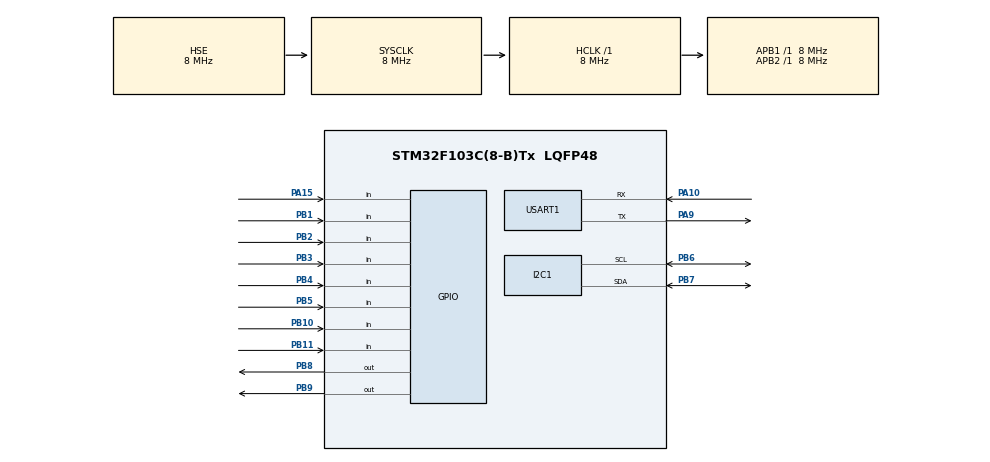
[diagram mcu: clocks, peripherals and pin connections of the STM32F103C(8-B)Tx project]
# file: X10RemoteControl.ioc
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Mcu.Family=STM32F1
Mcu.Name=STM32F103C(8-B)Tx
Mcu.Package=LQFP48
NVIC.PriorityGroup=NVIC_PRIORITYGROUP_4
PA10.Mode=Asynchronous
PA10.Signal=USART1_RX
PA13.Mode=Serial_Wire
PA13.Signal=SYS_JTMS-SWDIO
PA14.Mode=Serial_Wire
PA14.Signal=SYS_JTCK-SWCLK
PA15.Signal=GPIO_Input
PA9.Mode=Asynchronous
PA9.Signal=USART1_TX
PB1.Signal=GPIO_Input
PB10.Signal=GPIO_Input
PB11.Signal=GPIO_Input
PB2.Signal=GPIO_Input
PB3.Signal=GPIO_Input
PB4.Signal=GPIO_Input
PB5.Signal=GPIO_Input
PB6.Mode=I2C
PB6.Signal=I2C1_SCL
PB7.Mode=I2C
PB7.Signal=I2C1_SDA
PB8.Signal=GPIO_Output
PB9.Signal=GPIO_Output
PC14-OSC32_IN.Mode=LSE-External-Oscillator
PC14-OSC32_IN.Signal=RCC_OSC32_IN
PC15-OSC32_OUT.Mode=LSE-External-Oscillator
PC15-OSC32_OUT.Signal=RCC_OSC32_OUT
PD0-OSC_IN.Mode=HSE-External-Oscillator
PD0-OSC_IN.Signal=RCC_OSC_IN
PD1-OSC_OUT.Mode=HSE-External-Oscillator
PD1-OSC_OUT.Signal=RCC_OSC_OUT
ProjectManager.HeapSize=0x200
ProjectManager.StackSize=0x400
ProjectManager.TargetToolchain=MDK-ARM V5
RCC.AHBFreq_Value=8000000
RCC.APB1Freq_Value=8000000
RCC.APB1TimFreq_Value=8000000
RCC.APB2Freq_Value=8000000
RCC.APB2TimFreq_Value=8000000
RCC.HCLKFreq_Value=8000000
RCC.PLLSourceVirtual=RCC_PLLSOURCE_HSE
RCC.SYSCLKFreq_VALUE=8000000
RCC.SYSCLKSource=RCC_SYSCLKSOURCE_HSE
RCC.USBFreq_Value=16000000
USART1.VirtualMode=VM_ASYNC
board=custom

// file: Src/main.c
/* USER CODE BEGIN Header */
/**
  ******************************************************************************
  * @file           : main.c
  * @brief          : Main program body
  ******************************************************************************
  ** This notice applies to any and all portions of this file
  * that are not between comment pairs USER CODE BEGIN and
  * USER CODE END. Other portions of this file, whether
  * inserted by the user or by software development tools
  * are owned by their respective copyright owners.
  *
  * COPYRIGHT(c) 2019 STMicroelectronics
  *
  * Redistribution and use in source and binary forms, with or without modification,
  * are permitted provided that the following conditions are met:
  *   1. Redistributions of source code must retain the above copyright notice,
  *      this list of conditions and the following disclaimer.
  *   2. Redistributions in binary form must reproduce the above copyright notice,
  *      this list of conditions and the following disclaimer in the documentation
  *      and/or other materials provided with the distribution.
  *   3. Neither the name of STMicroelectronics nor the names of its contributors
  *      may be used to endorse or promote products derived from this software
  *      without specific prior written permission.
  *
  * THIS SOFTWARE IS PROVIDED BY THE COPYRIGHT HOLDERS AND CONTRIBUTORS "AS IS"
  * AND ANY EXPRESS OR IMPLIED WARRANTIES, INCLUDING, BUT NOT LIMITED TO, THE
  * IMPLIED WARRANTIES OF MERCHANTABILITY AND FITNESS FOR A PARTICULAR PURPOSE ARE
  * DISCLAIMED. IN NO EVENT SHALL THE COPYRIGHT HOLDER OR CONTRIBUTORS BE LIABLE
  * FOR ANY DIRECT, INDIRECT, INCIDENTAL, SPECIAL, EXEMPLARY, OR CONSEQUENTIAL
  * DAMAGES (INCLUDING, BUT NOT LIMITED TO, PROCUREMENT OF SUBSTITUTE GOODS OR
  * SERVICES; LOSS OF USE, DATA, OR PROFITS; OR BUSINESS INTERRUPTION) HOWEVER
  * CAUSED AND ON ANY THEORY OF LIABILITY, WHETHER IN CONTRACT, STRICT LIABILITY,
  * OR TORT (INCLUDING NEGLIGENCE OR OTHERWISE) ARISING IN ANY WAY OUT OF THE USE
  * OF THIS SOFTWARE, EVEN IF ADVISED OF THE POSSIBILITY OF SUCH DAMAGE.
  *
  ******************************************************************************
  */
/* USER CODE END Header */

#include "main.h"

/* USER CODE BEGIN PD */
#define OSC_HSE	8000000
#define OSC_LSE	32768
/* USER CODE END PD */

/* USER CODE BEGIN PM */
#ifdef __GNUC__
#define PUTCHAR_PROTOTYPE int __io_putchar(int ch)
#else
#define PUTCHAR_PROTOTYPE int fputc(int ch, FILE *f)
#endif
#define CLEAR() printf("\033[2J")								//清屏
#define MOVEUP(x) printf("\033[%dA", (x))
#define MOVEDOWN(x) printf("\033[%dB", (x))
#define MOVELEFT(y) printf("\033[%dD", (y))
#define MOVERIGHT(y) printf("\033[%dC",(y))
#define RESET_CURSOR() printf("\033[H")								//设置：重置光标至原点
#define MOVETO(x,y) printf("\033[%d;%dH", (x), (y))	//设置：移动光标至x行y列
#define CLEARLINE() printf("\033[K")								//设置：清楚从光标到行尾的字符
#define SAVEPOS() printf("\033[s")								//设置：保存光标位置
#define LODEPOS() printf("\033[u")								//设置：恢复光标位置
#define RESET() printf("\033[0m")								//设置：清楚所有设置
/* USER CODE END PM */

I2C_HandleTypeDef hi2c1;

UART_HandleTypeDef huart1;

void SystemClock_Config(void);
static void MX_GPIO_Init(void);
static void MX_I2C1_Init(void);
static void MX_USART1_UART_Init(void);

int main(void)
{

  /* MCU Configuration--------------------------------------------------------*/

  /* Reset of all peripherals, Initializes the Flash interface and the Systick. */
  HAL_Init();

  /* Configure the system clock */
  SystemClock_Config();

  /* Initialize all configured peripherals */
  MX_GPIO_Init();
  MX_I2C1_Init();
  MX_USART1_UART_Init();

  /* Infinite loop */
  while (1)
  {

  }
}

void SystemClock_Config(void)
{
  RCC_OscInitTypeDef RCC_OscInitStruct = {0};
  RCC_ClkInitTypeDef RCC_ClkInitStruct = {0};

  /**Initializes the CPU, AHB and APB busses clocks
  */
  RCC_OscInitStruct.OscillatorType = RCC_OSCILLATORTYPE_HSE;
  RCC_OscInitStruct.HSEState = RCC_HSE_ON;
  RCC_OscInitStruct.PLL.PLLState = RCC_PLL_NONE;
  if (HAL_RCC_OscConfig(&RCC_OscInitStruct) != HAL_OK)
  {
    Error_Handler();
  }
  /**Initializes the CPU, AHB and APB busses clocks
  */
  RCC_ClkInitStruct.ClockType = RCC_CLOCKTYPE_HCLK|RCC_CLOCKTYPE_SYSCLK
                              |RCC_CLOCKTYPE_PCLK1|RCC_CLOCKTYPE_PCLK2;
  RCC_ClkInitStruct.SYSCLKSource = RCC_SYSCLKSOURCE_HSE;
  RCC_ClkInitStruct.AHBCLKDivider = RCC_SYSCLK_DIV1;
  RCC_ClkInitStruct.APB1CLKDivider = RCC_HCLK_DIV1;
  RCC_ClkInitStruct.APB2CLKDivider = RCC_HCLK_DIV1;

  if (HAL_RCC_ClockConfig(&RCC_ClkInitStruct, FLASH_LATENCY_0) != HAL_OK)
  {
    Error_Handler();
  }
}

static void MX_I2C1_Init(void)
{

  hi2c1.Instance = I2C1;
  hi2c1.Init.ClockSpeed = 100000;
  hi2c1.Init.DutyCycle = I2C_DUTYCYCLE_2;
  hi2c1.Init.OwnAddress1 = 0;
  hi2c1.Init.AddressingMode = I2C_ADDRESSINGMODE_7BIT;
  hi2c1.Init.DualAddressMode = I2C_DUALADDRESS_DISABLE;
  hi2c1.Init.OwnAddress2 = 0;
  hi2c1.Init.GeneralCallMode = I2C_GENERALCALL_DISABLE;
  hi2c1.Init.NoStretchMode = I2C_NOSTRETCH_DISABLE;
  if (HAL_I2C_Init(&hi2c1) != HAL_OK)
  {
    Error_Handler();
  }

}

static void MX_USART1_UART_Init(void)
{

  huart1.Instance = USART1;
  huart1.Init.BaudRate = 115200;
  huart1.Init.WordLength = UART_WORDLENGTH_8B;
  huart1.Init.StopBits = UART_STOPBITS_1;
  huart1.Init.Parity = UART_PARITY_NONE;
  huart1.Init.Mode = UART_MODE_TX_RX;
  huart1.Init.HwFlowCtl = UART_HWCONTROL_NONE;
  huart1.Init.OverSampling = UART_OVERSAMPLING_16;
  if (HAL_UART_Init(&huart1) != HAL_OK)
  {
    Error_Handler();
  }

}

static void MX_GPIO_Init(void)
{
  GPIO_InitTypeDef GPIO_InitStruct = {0};

  /* GPIO Ports Clock Enable */
  __HAL_RCC_GPIOC_CLK_ENABLE();
  __HAL_RCC_GPIOD_CLK_ENABLE();
  __HAL_RCC_GPIOB_CLK_ENABLE();
  __HAL_RCC_GPIOA_CLK_ENABLE();

  /*Configure GPIO pin Output Level */
  HAL_GPIO_WritePin(GPIOB, GPIO_PIN_8|GPIO_PIN_9, GPIO_PIN_RESET);

  /*Configure GPIO pins : PB1 PB2 PB10 PB11
                           PB3 PB4 PB5 */
  GPIO_InitStruct.Pin = GPIO_PIN_1|GPIO_PIN_2|GPIO_PIN_10|GPIO_PIN_11
                          |GPIO_PIN_3|GPIO_PIN_4|GPIO_PIN_5;
  GPIO_InitStruct.Mode = GPIO_MODE_INPUT;
  GPIO_InitStruct.Pull = GPIO_NOPULL;
  HAL_GPIO_Init(GPIOB, &GPIO_InitStruct);

  /*Configure GPIO pin : PA15 */
  GPIO_InitStruct.Pin = GPIO_PIN_15;
  GPIO_InitStruct.Mode = GPIO_MODE_INPUT;
  GPIO_InitStruct.Pull = GPIO_NOPULL;
  HAL_GPIO_Init(GPIOA, &GPIO_InitStruct);

  /*Configure GPIO pins : PB8 PB9 */
  GPIO_InitStruct.Pin = GPIO_PIN_8|GPIO_PIN_9;
  GPIO_InitStruct.Mode = GPIO_MODE_OUTPUT_PP;
  GPIO_InitStruct.Pull = GPIO_NOPULL;
  GPIO_InitStruct.Speed = GPIO_SPEED_FREQ_LOW;
  HAL_GPIO_Init(GPIOB, &GPIO_InitStruct);

}

/* USER CODE BEGIN 4 */
PUTCHAR_PROTOTYPE
{
    HAL_UART_Transmit(&huart1 , (uint8_t *)&ch, 1, 0xFFFF);
    return ch;
}
/* USER CODE END 4 */

void Error_Handler(void)
{
}

/************************ (C) COPYRIGHT STMicroelectronics *****END OF FILE****/
